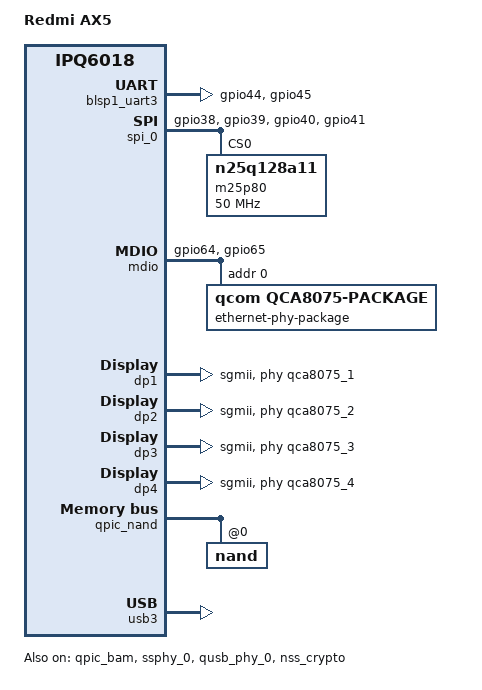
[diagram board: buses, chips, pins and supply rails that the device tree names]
// SPDX-License-Identifier: GPL-2.0-or-later OR MIT
// Device tree for Redmi AX5 (RA67) — IPQ6018 CP01 + Qualcomm QCA8075 4-port PHY.
// Based on the upstream QSDK 5.4 ipq6018-cp03-c1.dts template, retargeted for the
// Xiaomi hardware: dp1-dp4 mapped to lan1/lan2/lan3/wan, QCA8075 PHYs at addr 1/2/3/4.
//
// NOTE: 32-bit QSDK 12.2's Image/BuildKernel/MkFIT does NOT inject bootargs
// into the .its template, so the chosen.bootargs must live here (rather than
// only bootargs-append in the xiaomi dtsi). The append covers UBI coherent_pool
// additions; the main bootargs covers console=, rootwait, init=.

/dts-v1/;

#include "ipq6018.dtsi"
#include "ipq6018-cpr-regulator.dtsi"
#include "ipq6000-xiaomi.dtsi"

/ {
	#address-cells = <0x2>;
	#size-cells = <0x2>;
	model = "Redmi AX5";
	compatible = "redmi,ax5", "qcom,ipq6018";
	qcom,msm-id = <0x192 0x0>;
	interrupt-parent = <&intc>;

	chosen {
		stdout-path = "serial0:115200n8";
		bootargs = "console=ttyMSM0,115200n8 ubi.mtd=rootfs root=mtd:ubi_rootfs rootfstype=squashfs rootwait init=/sbin/init swiotlb=1 coherent_pool=2M";
	};
};

&tlmm {
	uart_pins: uart_pins {
		mux {
			pins = "gpio44", "gpio45";
			function = "blsp2_uart";
			drive-strength = <8>;
			bias-pull-down;
		};
	};

	spi_0_pins: spi_0_pins {
		mux {
			pins = "gpio38", "gpio39", "gpio40", "gpio41";
			function = "blsp0_spi";
			drive-strength = <8>;
			bias-pull-down;
		};
	};

	button_pins: button_pins {
		reset_button {
			pins = "gpio19";
			function = "gpio";
			drive-strength = <8>;
			bias-pull-up;
		};
	};

	mdio_pins: mdio_pinmux {
		mux_0 {
			pins = "gpio64";
			function = "mdc";
			drive-strength = <8>;
			bias-pull-up;
		};
		mux_1 {
			pins = "gpio65";
			function = "mdio";
			drive-strength = <8>;
			bias-pull-up;
		};
	};

	leds_pins: leds_pins {
		mux {
			pins = "gpio29", "gpio30", "gpio31", "gpio32";
			function = "gpio";
			drive-strength = <8>;
			bias-pull-down;
		};
	};
};

&blsp1_uart3 {
	pinctrl-0 = <&uart_pins>;
	pinctrl-names = "default";
	status = "ok";
};

&spi_0 {
	pinctrl-0 = <&spi_0_pins>;
	pinctrl-names = "default";
	cs-select = <0>;
	status = "ok";

	m25p80@0 {
		#address-cells = <1>;
		#size-cells = <1>;
		reg = <0>;
		compatible = "n25q128a11";
		linux,modalias = "m25p80", "n25q128a11";
		spi-max-frequency = <50000000>;
		use-default-sizes;
	};
};

&soc {
	mdio: mdio@90000 {
		pinctrl-0 = <&mdio_pins>;
		pinctrl-names = "default";
		phy-reset-gpio = <&tlmm 75 0>;
		status = "ok";

		ethernet-phy-package@0 {
			compatible = "qcom,qca8075-package";
			#address-cells = <1>;
			#size-cells = <0>;
			reg = <0>;

			qca8075_1: ethernet-phy@1 {
				compatible = "ethernet-phy-ieee802.3-c22";
				reg = <1>;
			};
			qca8075_2: ethernet-phy@2 {
				compatible = "ethernet-phy-ieee802.3-c22";
				reg = <2>;
			};
			qca8075_3: ethernet-phy@3 {
				compatible = "ethernet-phy-ieee802.3-c22";
				reg = <3>;
			};
			qca8075_4: ethernet-phy@4 {
				compatible = "ethernet-phy-ieee802.3-c22";
				reg = <4>;
			};
		};
	};

	ess-switch@3a000000 {
		switch_cpu_bmp = <0x1>;
		switch_lan_bmp = <0x1e>;
		switch_wan_bmp = <0x20>;
		switch_inner_bmp = <0xc0>;
		switch_mac_mode = <0x0>;
		switch_mac_mode1 = <0xff>;
		switch_mac_mode2 = <0xff>;

		qcom,port_phyinfo {
			port@1 {
				port_id = <1>;
				phy_address = <1>;
			};
			port@2 {
				port_id = <2>;
				phy_address = <2>;
			};
			port@3 {
				port_id = <3>;
				phy_address = <3>;
			};
			port@4 {
				port_id = <4>;
				phy_address = <4>;
			};
		};
	};

	dp1 {
		device_type = "network";
		compatible = "qcom,nss-dp";
		qcom,id = <1>;
		reg = <0x3a001800 0x200>;
		qcom,mactype = <0>;
		local-mac-address = [000000000000];
		qcom,link-poll = <1>;
		qcom,phy-mdio-addr = <1>;
		phy-mode = "sgmii";
		label = "lan1";
		phy-handle = <&qca8075_1>;
		status = "ok";
	};

	dp2 {
		device_type = "network";
		compatible = "qcom,nss-dp";
		qcom,id = <2>;
		reg = <0x3a001000 0x200>;
		qcom,mactype = <0>;
		local-mac-address = [000000000000];
		qcom,link-poll = <1>;
		qcom,phy-mdio-addr = <2>;
		phy-mode = "sgmii";
		label = "lan2";
		phy-handle = <&qca8075_2>;
		status = "ok";
	};

	dp3 {
		device_type = "network";
		compatible = "qcom,nss-dp";
		qcom,id = <3>;
		reg = <0x3a001200 0x200>;
		qcom,mactype = <0>;
		local-mac-address = [000000000000];
		qcom,link-poll = <1>;
		qcom,phy-mdio-addr = <3>;
		phy-mode = "sgmii";
		label = "lan3";
		phy-handle = <&qca8075_3>;
		status = "ok";
	};

	dp4 {
		device_type = "network";
		compatible = "qcom,nss-dp";
		qcom,id = <4>;
		reg = <0x3a001600 0x200>;
		qcom,mactype = <0>;
		local-mac-address = [000000000000];
		qcom,link-poll = <1>;
		qcom,phy-mdio-addr = <4>;
		phy-mode = "sgmii";
		label = "wan";
		phy-handle = <&qca8075_4>;
		status = "ok";
	};

	nss-macsec0 {
		compatible = "qcom,nss-macsec";
		phy_addr = <0x18>;
		phy_access_mode = <0x0>;
		mdiobus = <&mdio>;
	};
};

&qpic_bam {
	status = "ok";
};

&qpic_nand {
	status = "ok";

	nand@0 {
		reg = <0>;
		#address-cells = <1>;
		#size-cells = <1>;

		nand-ecc-strength = <4>;
		nand-ecc-step-size = <512>;
		nand-bus-width = <8>;
	};
};

&ssphy_0 {
	status = "ok";
};

&qusb_phy_0 {
	status = "ok";
};

&usb3 {
	status = "ok";
};

&nss_crypto {
	status = "ok";
};

&CPU0 {
	/delete-property/ cpu-supply;
};

&CPU1 {
	/delete-property/ cpu-supply;
};

&CPU2 {
	/delete-property/ cpu-supply;
};

&CPU3 {
	/delete-property/ cpu-supply;
};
